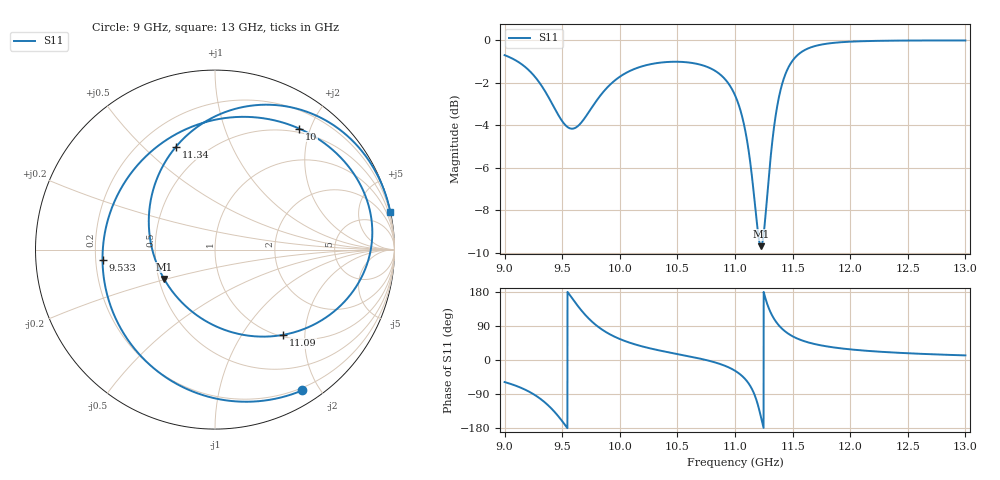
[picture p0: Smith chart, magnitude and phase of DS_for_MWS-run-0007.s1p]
! TOUCHSTONE file generated by CST DESIGN STUDIO
! Date and time: Tue Feb  4 18:08:19 2025
! Project name: C:\Work\MatlabApps\UnitCellOptimizationMatlab\CST\unitcell.cst
! Tree item: Tasks\Sweep1\SPara1\S-Parameters
! Header version: 2024
! Port assignment regex: !\s*Touchstone port\s*([0-9]+)\s*=\s*(CST MWS port|CST DES external port|CST DES block port)\s*(.+)\s* \(\"(.*)\"\)(\s*mode\s*([0-9]+))?.*
! Touchstone port assignment:
! Touchstone port 1 = CST DES external port 1 ("")
# GHz S MA R 50
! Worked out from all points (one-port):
!   4001 points, 9 GHz to 13 GHz, reference 50 ohm
!   lowest |S11| = -9.7 dB at 11.22 GHz (marker M1), VSWR 1.97, Z = 26.7 - j9.77 ohm
!   |S11| at or under -10 dB: nowhere
!   S11 on the Smith chart (normalised r, x): 9 GHz: 0.17, -1.78; 9.533 GHz: 0.23, -0.04; 10 GHz: 0.44, +1.83; 11.09 GHz: 1.03, -1.56; 11.34 GHz: 0.34, +0.63; 13 GHz: 0.03, +9.39
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9  0.9228 -58.2
9.146  0.8792 -73.8
9.296  0.7993 -99.2
9.397  0.7217 -125.2
9.5  0.6451 -161.4
9.533  0.6292 -174.8
9.622  0.624 148.0
9.743  0.6854 105.6
9.851  0.7528 79.2
10  0.8209 55.4
10.002  0.8216 55.1
10.217  0.8722 34.1
10.5  0.8903 15.7
10.811  0.8526 -5.0
10.917  0.808 -15.8
11  0.7426 -28.3
11.091  0.6089 -51.2
11.163  0.4364 -86.8
11.225  0.3275 -150.0
11.277  0.4226 150.2
11.335  0.6132 110.7
11.405  0.7818 83.6
11.5  0.8959 62.6
11.585  0.9417 51.3
11.689  0.9685 42.3
12  0.9927 28.1
12.5  0.9988 17.8
13  0.9993 12.2
